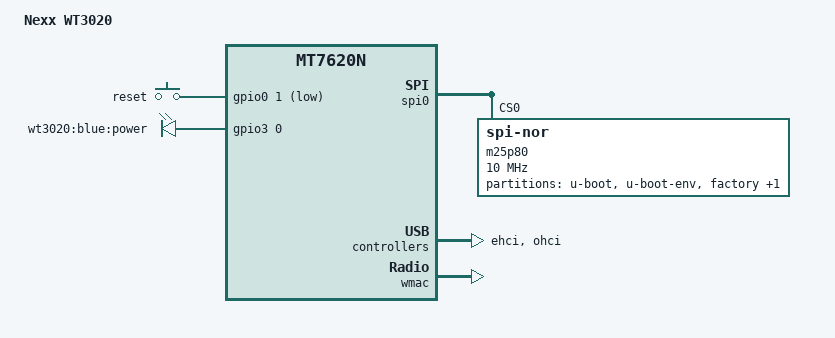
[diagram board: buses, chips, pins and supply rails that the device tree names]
/dts-v1/;

#include "mt7620n.dtsi"

/ {
	compatible = "wt3020", "ralink,mt7620n-soc";
	model = "Nexx WT3020";

	gpio-keys-polled {
		compatible = "gpio-keys-polled";
		#address-cells = <1>;
		#size-cells = <0>;
		poll-interval = <20>;

		reset {
			label = "reset";
			gpios = <&gpio0 1 1>;
			linux,code = <0x198>;
		};
	};

	gpio-leds {
		compatible = "gpio-leds";

		power {
			label = "wt3020:blue:power";
			gpios = <&gpio3 0 0>;
		};
	};
};

&gpio2 {
	status = "okay";
};

&gpio3 {
	status = "okay";
};

&spi0 {
	status = "okay";

	m25p80@0 {
		#address-cells = <1>;
		#size-cells = <1>;
		compatible = "jedec,spi-nor";
		reg = <0>;
		linux,modalias = "m25p80", "w25q64";
		spi-max-frequency = <10000000>;

		partition@0 {
			label = "u-boot";
			reg = <0x0 0x30000>;
			read-only;
		};

		partition@30000 {
			label = "u-boot-env";
			reg = <0x30000 0x10000>;
			read-only;
		};

		factory: partition@40000 {
			label = "factory";
			reg = <0x40000 0x10000>;
			read-only;
		};

		partition@50000 {
			label = "firmware";
			reg = <0x50000 0x7b0000>;
		};
	};
};

&ehci {
	status = "okay";
};

&ohci {
	status = "okay";
};

&ethernet {
	mtd-mac-address = <&factory 0x4>;
	mediatek,portmap = "wllll";
};

&wmac {
	ralink,mtd-eeprom = <&factory 0>;
};

&pinctrl {
	state_default: pinctrl0 {
		default {
			ralink,group = "ephy", "wled", "pa", "i2c", "wdt", "uartf";
			ralink,function = "gpio";
		};
	};
};
